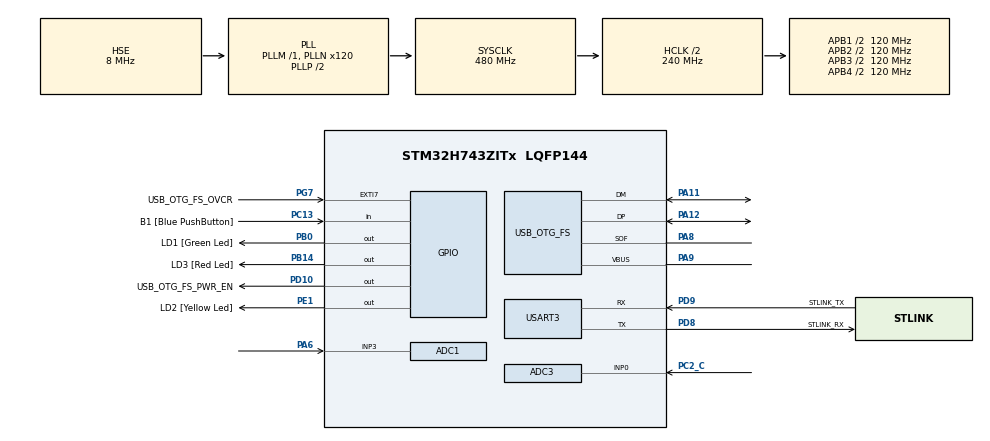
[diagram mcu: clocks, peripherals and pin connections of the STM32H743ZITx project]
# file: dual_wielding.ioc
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ADC1.Channel-1\#ChannelRegularConversion=ADC_CHANNEL_3
ADC1.ExternalTrigConv=ADC_EXTERNALTRIG_T6_TRGO
ADC1.NbrOfConversionFlag=1
ADC1.OffsetNumber-1\#ChannelRegularConversion=ADC_OFFSET_NONE
ADC1.OffsetSignedSaturation-1\#ChannelRegularConversion=DISABLE
ADC1.Rank-1\#ChannelRegularConversion=1
ADC1.SamplingTime-1\#ChannelRegularConversion=ADC_SAMPLETIME_1CYCLE_5
ADC1.master=1
ADC3.Channel-1\#ChannelRegularConversion=ADC_CHANNEL_0
ADC3.ExternalTrigConv=ADC_EXTERNALTRIG_T6_TRGO
ADC3.NbrOfConversionFlag=1
ADC3.OffsetNumber-1\#ChannelRegularConversion=ADC_OFFSET_NONE
ADC3.OffsetSignedSaturation-1\#ChannelRegularConversion=DISABLE
ADC3.Overrun=ADC_OVR_DATA_OVERWRITTEN
ADC3.Rank-1\#ChannelRegularConversion=1
ADC3.SamplingTime-1\#ChannelRegularConversion=ADC_SAMPLETIME_1CYCLE_5
Dma.ADC1.0.Direction=DMA_PERIPH_TO_MEMORY
Dma.ADC1.0.EventEnable=DISABLE
Dma.ADC1.0.FIFOMode=DMA_FIFOMODE_DISABLE
Dma.ADC1.0.Instance=DMA1_Stream0
Dma.ADC1.0.MemDataAlignment=DMA_MDATAALIGN_HALFWORD
Dma.ADC1.0.MemInc=DMA_MINC_ENABLE
Dma.ADC1.0.Mode=DMA_CIRCULAR
Dma.ADC1.0.PeriphDataAlignment=DMA_PDATAALIGN_HALFWORD
Dma.ADC1.0.PeriphInc=DMA_PINC_DISABLE
Dma.ADC1.0.Polarity=HAL_DMAMUX_REQ_GEN_RISING
Dma.ADC1.0.Priority=DMA_PRIORITY_LOW
Dma.ADC1.0.RequestNumber=1
Dma.ADC1.0.SignalID=NONE
Dma.ADC1.0.SyncEnable=DISABLE
Dma.ADC1.0.SyncPolarity=HAL_DMAMUX_SYNC_NO_EVENT
Dma.ADC1.0.SyncRequestNumber=1
Dma.ADC1.0.SyncSignalID=NONE
Dma.ADC3.1.Direction=DMA_PERIPH_TO_MEMORY
Dma.ADC3.1.EventEnable=DISABLE
Dma.ADC3.1.FIFOMode=DMA_FIFOMODE_DISABLE
Dma.ADC3.1.Instance=DMA1_Stream1
Dma.ADC3.1.MemDataAlignment=DMA_MDATAALIGN_HALFWORD
Dma.ADC3.1.MemInc=DMA_MINC_ENABLE
Dma.ADC3.1.Mode=DMA_CIRCULAR
Dma.ADC3.1.PeriphDataAlignment=DMA_PDATAALIGN_HALFWORD
Dma.ADC3.1.PeriphInc=DMA_PINC_DISABLE
Dma.ADC3.1.Polarity=HAL_DMAMUX_REQ_GEN_RISING
Dma.ADC3.1.Priority=DMA_PRIORITY_LOW
Dma.ADC3.1.RequestNumber=1
Dma.ADC3.1.SignalID=NONE
Dma.ADC3.1.SyncEnable=DISABLE
Dma.ADC3.1.SyncPolarity=HAL_DMAMUX_SYNC_NO_EVENT
Dma.ADC3.1.SyncRequestNumber=1
Dma.ADC3.1.SyncSignalID=NONE
Dma.Request0=ADC1
Dma.Request1=ADC3
Dma.Request2=USART3_TX
Dma.USART3_TX.2.Direction=DMA_MEMORY_TO_PERIPH
Dma.USART3_TX.2.EventEnable=DISABLE
Dma.USART3_TX.2.FIFOMode=DMA_FIFOMODE_DISABLE
Dma.USART3_TX.2.Instance=DMA2_Stream0
Dma.USART3_TX.2.MemDataAlignment=DMA_MDATAALIGN_BYTE
Dma.USART3_TX.2.MemInc=DMA_MINC_ENABLE
Dma.USART3_TX.2.Mode=DMA_NORMAL
Dma.USART3_TX.2.PeriphDataAlignment=DMA_PDATAALIGN_BYTE
Dma.USART3_TX.2.PeriphInc=DMA_PINC_DISABLE
Dma.USART3_TX.2.Polarity=HAL_DMAMUX_REQ_GEN_RISING
Dma.USART3_TX.2.Priority=DMA_PRIORITY_LOW
Dma.USART3_TX.2.RequestNumber=1
Dma.USART3_TX.2.SignalID=NONE
Dma.USART3_TX.2.SyncEnable=DISABLE
Dma.USART3_TX.2.SyncPolarity=HAL_DMAMUX_SYNC_NO_EVENT
Dma.USART3_TX.2.SyncRequestNumber=1
Dma.USART3_TX.2.SyncSignalID=NONE
Mcu.Family=STM32H7
Mcu.Name=STM32H743ZITx
Mcu.Package=LQFP144
NVIC.ADC3_IRQn=true\:0\:0\:false\:false\:true\:true\:true\:true
NVIC.DMA1_Stream0_IRQn=true\:0\:0\:false\:false\:true\:false\:true\:true
NVIC.DMA1_Stream1_IRQn=true\:0\:0\:false\:false\:true\:false\:true\:true
NVIC.DMA2_Stream0_IRQn=true\:0\:0\:false\:false\:true\:false\:true\:true
NVIC.PriorityGroup=NVIC_PRIORITYGROUP_4
NVIC.USART3_IRQn=true\:0\:0\:false\:false\:true\:true\:true\:true
PA1.Signal=ETH_REF_CLK
PA11.Mode=Device_Only
PA11.Signal=USB_OTG_FS_DM
PA12.Mode=Device_Only
PA12.Signal=USB_OTG_FS_DP
PA2.Signal=ETH_MDIO
PA6.Signal=ADCx_INP3
PA7.Signal=ETH_CRS_DV
PA8.Mode=Activate_SOF_FS
PA8.Signal=USB_OTG_FS_SOF
PA9.Mode=Activate_VBUS
PA9.Signal=USB_OTG_FS_VBUS
PB0.GPIO_Label=LD1 [Green Led]
PB0.Signal=GPIO_Output
PB13.Signal=ETH_TXD1
PB14.GPIO_Label=LD3 [Red Led]
PB14.Signal=GPIO_Output
PC1.Signal=ETH_MDC
PC13.GPIO_Label=B1 [Blue PushButton]
PC13.Signal=GPIO_Input
PC14-OSC32_IN\ (OSC32_IN).Mode=LSE-External-Oscillator
PC14-OSC32_IN\ (OSC32_IN).Signal=RCC_OSC32_IN
PC15-OSC32_OUT\ (OSC32_OUT).Mode=LSE-External-Oscillator
PC15-OSC32_OUT\ (OSC32_OUT).Signal=RCC_OSC32_OUT
PC2_C.Mode=IN0-Single-Ended
PC2_C.Signal=ADC3_INP0
PC4.Signal=ETH_RXD0
PC5.Signal=ETH_RXD1
PD10.GPIO_Label=USB_OTG_FS_PWR_EN
PD10.Signal=GPIO_Output
PD8.GPIO_Label=STLINK_RX
PD8.Mode=Asynchronous
PD8.Signal=USART3_TX
PD9.GPIO_Label=STLINK_TX
PD9.Mode=Asynchronous
PD9.Signal=USART3_RX
PE1.GPIO_Label=LD2 [Yellow Led]
PE1.Signal=GPIO_Output
PG11.Signal=ETH_TX_EN
PG13.Signal=ETH_TXD0
PG7.GPIO_Label=USB_OTG_FS_OVCR
PG7.Signal=GPXTI7
PH0-OSC_IN\ (PH0).Mode=HSE-External-Clock-Source
PH0-OSC_IN\ (PH0).Signal=RCC_OSC_IN
PH1-OSC_OUT\ (PH1).Signal=RCC_OSC_OUT
ProjectManager.HeapSize=0x200
ProjectManager.StackSize=0x400
ProjectManager.TargetToolchain=STM32CubeIDE
RCC.ADCFreq_Value=76000000
RCC.APB1Freq_Value=120000000
RCC.APB2Freq_Value=120000000
RCC.APB3Freq_Value=120000000
RCC.APB4Freq_Value=120000000
RCC.CortexFreq_Value=480000000
RCC.D1PPRE=RCC_APB3_DIV2
RCC.D2PPRE1=RCC_APB1_DIV2
RCC.D2PPRE2=RCC_APB2_DIV2
RCC.D3PPRE=RCC_APB4_DIV2
RCC.DIVM1=1
RCC.DIVM2=1
RCC.DIVN1=120
RCC.DIVN2=19
RCC.DIVQ1=15
RCC.HCLKFreq_Value=240000000
RCC.HPRE=RCC_HCLK_DIV2
RCC.HSE_VALUE=8000000
RCC.PLL2FRACN=0
RCC.PLL3FRACN=0
RCC.PLLFRACN=0
RCC.PWR_Regulator_Voltage_Scale=PWR_REGULATOR_VOLTAGE_SCALE0
RCC.SYSCLKFreq_VALUE=480000000
RCC.SYSCLKSource=RCC_SYSCLKSOURCE_PLLCLK
RCC.USBFreq_Value=64000000
SH.ADCx_INP3.0=ADC1_INP3,IN3-Single-Ended
USART3.VirtualMode-Asynchronous=VM_ASYNC
USB_OTG_FS.VirtualMode=Device_Only
VP_MEMORYMAP_VS_MEMORYMAP.Mode=CurAppReg
VP_TIM6_VS_ClockSourceINT.Mode=Enable_Timer
board=NUCLEO-H743ZI2

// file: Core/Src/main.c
/* USER CODE BEGIN Header */
/**
  ******************************************************************************
  * @file           : main.c
  * @brief          : Main program body
  ******************************************************************************
  * @attention
  *
  * Copyright (c) 2025 STMicroelectronics.
  * All rights reserved.
  *
  * This software is licensed under terms that can be found in the LICENSE file
  * in the root directory of this software component.
  * If no LICENSE file comes with this software, it is provided AS-IS.
  *
  ******************************************************************************
  */
/* USER CODE END Header */
#include "main.h"
#include "adc.h"
#include "dma.h"
#include "memorymap.h"
#include "tim.h"
#include "usart.h"
#include "usb_otg.h"
#include "gpio.h"

/* USER CODE BEGIN Includes */
#include "ESPE_my_DMA.h"
/* USER CODE END Includes */

void SystemClock_Config(void);
void PeriphCommonClock_Config(void);

int main(void)
{

  /* MCU Configuration--------------------------------------------------------*/

  /* Reset of all peripherals, Initializes the Flash interface and the Systick. */
  HAL_Init();

  /* Configure the system clock */
  SystemClock_Config();

  /* Configure the peripherals common clocks */
  PeriphCommonClock_Config();

  /* Initialize all configured peripherals */
  MX_GPIO_Init();
  MX_DMA_Init();
  MX_USART3_UART_Init();
  MX_USB_OTG_FS_PCD_Init();
  MX_ADC3_Init();
  MX_ADC1_Init();
  MX_TIM6_Init();
  /* USER CODE BEGIN 2 */
  ESPE_TIM6_init();
  ESPE_ADC1_init();
  ESPE_ADC3_init();
  ESPE_USART_init();
  ESPE_COMP_init();
  DMA_setup_ADC1();
  DMA_setup_ADC3 ();

  DMA_setup_USART_ADC3();
  USART_start;
  TIM6_start;
  ADC3_start;
  ADC1_start;
  DMA_start_ADC1;
  DMA_start_ADC3;

  /* USER CODE END 2 */

  /* Infinite loop */
  while (1)
  {

  }
}

void SystemClock_Config(void)
{
  RCC_OscInitTypeDef RCC_OscInitStruct = {0};
  RCC_ClkInitTypeDef RCC_ClkInitStruct = {0};

  /** Supply configuration update enable
  */
  HAL_PWREx_ConfigSupply(PWR_LDO_SUPPLY);

  /** Configure the main internal regulator output voltage
  */
  __HAL_PWR_VOLTAGESCALING_CONFIG(PWR_REGULATOR_VOLTAGE_SCALE1);

  while(!__HAL_PWR_GET_FLAG(PWR_FLAG_VOSRDY)) {}

  __HAL_RCC_SYSCFG_CLK_ENABLE();
  __HAL_PWR_VOLTAGESCALING_CONFIG(PWR_REGULATOR_VOLTAGE_SCALE0);

  while(!__HAL_PWR_GET_FLAG(PWR_FLAG_VOSRDY)) {}

  /** Initializes the RCC Oscillators according to the specified parameters
  * in the RCC_OscInitTypeDef structure.
  */
  RCC_OscInitStruct.OscillatorType = RCC_OSCILLATORTYPE_HSE;
  RCC_OscInitStruct.HSEState = RCC_HSE_BYPASS;
  RCC_OscInitStruct.PLL.PLLState = RCC_PLL_ON;
  RCC_OscInitStruct.PLL.PLLSource = RCC_PLLSOURCE_HSE;
  RCC_OscInitStruct.PLL.PLLM = 1;
  RCC_OscInitStruct.PLL.PLLN = 120;
  RCC_OscInitStruct.PLL.PLLP = 2;
  RCC_OscInitStruct.PLL.PLLQ = 15;
  RCC_OscInitStruct.PLL.PLLR = 2;
  RCC_OscInitStruct.PLL.PLLRGE = RCC_PLL1VCIRANGE_3;
  RCC_OscInitStruct.PLL.PLLVCOSEL = RCC_PLL1VCOWIDE;
  RCC_OscInitStruct.PLL.PLLFRACN = 0;
  if (HAL_RCC_OscConfig(&RCC_OscInitStruct) != HAL_OK)
  {
    Error_Handler();
  }

  /** Initializes the CPU, AHB and APB buses clocks
  */
  RCC_ClkInitStruct.ClockType = RCC_CLOCKTYPE_HCLK|RCC_CLOCKTYPE_SYSCLK
                              |RCC_CLOCKTYPE_PCLK1|RCC_CLOCKTYPE_PCLK2
                              |RCC_CLOCKTYPE_D3PCLK1|RCC_CLOCKTYPE_D1PCLK1;
  RCC_ClkInitStruct.SYSCLKSource = RCC_SYSCLKSOURCE_PLLCLK;
  RCC_ClkInitStruct.SYSCLKDivider = RCC_SYSCLK_DIV1;
  RCC_ClkInitStruct.AHBCLKDivider = RCC_HCLK_DIV2;
  RCC_ClkInitStruct.APB3CLKDivider = RCC_APB3_DIV2;
  RCC_ClkInitStruct.APB1CLKDivider = RCC_APB1_DIV2;
  RCC_ClkInitStruct.APB2CLKDivider = RCC_APB2_DIV2;
  RCC_ClkInitStruct.APB4CLKDivider = RCC_APB4_DIV2;

  if (HAL_RCC_ClockConfig(&RCC_ClkInitStruct, FLASH_LATENCY_4) != HAL_OK)
  {
    Error_Handler();
  }
}

void PeriphCommonClock_Config(void)
{
  RCC_PeriphCLKInitTypeDef PeriphClkInitStruct = {0};

  /** Initializes the peripherals clock
  */
  PeriphClkInitStruct.PeriphClockSelection = RCC_PERIPHCLK_ADC;
  PeriphClkInitStruct.PLL2.PLL2M = 1;
  PeriphClkInitStruct.PLL2.PLL2N = 19;
  PeriphClkInitStruct.PLL2.PLL2P = 2;
  PeriphClkInitStruct.PLL2.PLL2Q = 2;
  PeriphClkInitStruct.PLL2.PLL2R = 2;
  PeriphClkInitStruct.PLL2.PLL2RGE = RCC_PLL2VCIRANGE_3;
  PeriphClkInitStruct.PLL2.PLL2VCOSEL = RCC_PLL2VCOMEDIUM;
  PeriphClkInitStruct.PLL2.PLL2FRACN = 0;
  PeriphClkInitStruct.AdcClockSelection = RCC_ADCCLKSOURCE_PLL2;
  if (HAL_RCCEx_PeriphCLKConfig(&PeriphClkInitStruct) != HAL_OK)
  {
    Error_Handler();
  }
}

void Error_Handler(void)
{
  __disable_irq();
  while (1)
  {
  }
}
